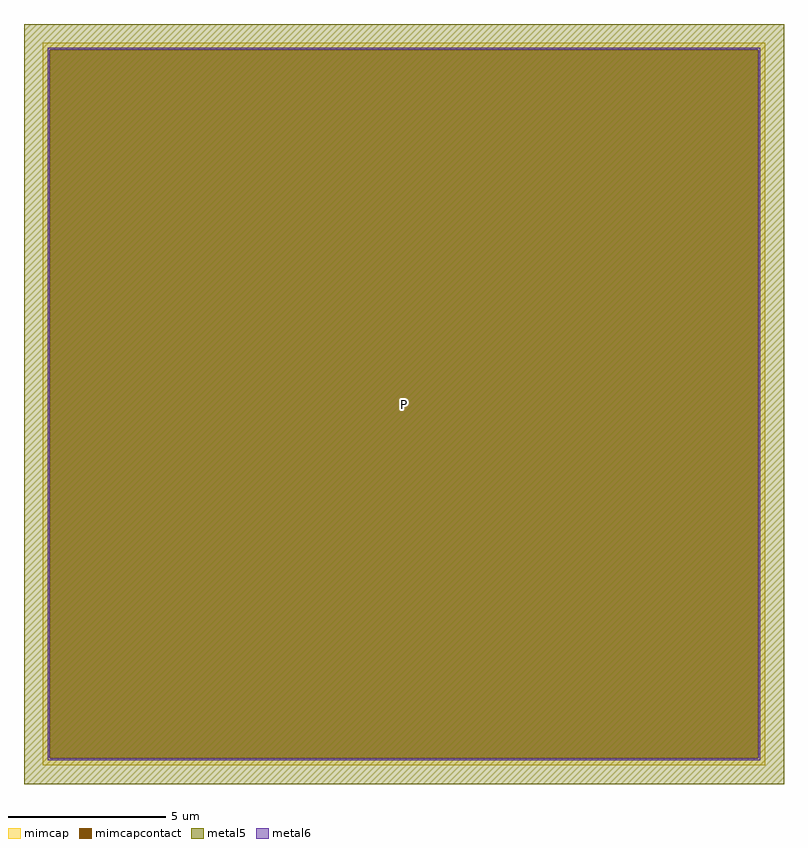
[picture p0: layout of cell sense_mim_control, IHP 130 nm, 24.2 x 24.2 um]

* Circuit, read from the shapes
.subckt sense_mim_control N P
XC1 P N cap_cmim w=23u l=23u
.ends

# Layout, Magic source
magic
tech ihp-sg13g2
<< metal5 >>
rect 4331 19760 6751 22180
<< mimcap >>
rect 4391 22098 6691 22120
rect 4391 19842 4413 22098
rect 6669 19842 6691 22098
rect 4391 19820 6691 19842
<< mimcapcontact >>
rect 4413 19842 6669 22098
<< metal6 >>
rect 4407 22098 6675 22104
rect 4407 19842 4413 22098
rect 6669 19842 6675 22098
rect 4407 19836 6675 19842
<< labels >>
rlabel metal6 s 5541 20970 5541 20970 4 P
rlabel metal5 s 5541 20970 5541 20970 4 N
<< end >>
